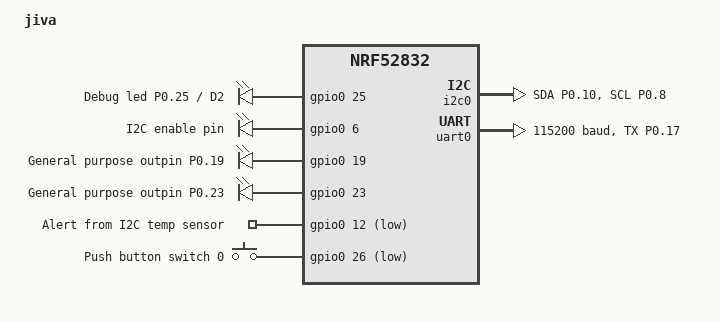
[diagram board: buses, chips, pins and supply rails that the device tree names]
// Copyright (c) 2024 Nordic Semiconductor ASA
// SPDX-License-Identifier: Apache-2.0

/dts-v1/;
#include <nordic/nrf52832_qfaa.dtsi>


/* Generated */
/ {
	model = "jiva";
	compatible = "ligna-energy,jiva";

	chosen {
		zephyr,sram = &sram0;
		zephyr,flash = &flash0;
		zephyr,code-partition = &slot0_partition;
	};
};

&flash0 {
	partitions {
		compatible = "fixed-partitions";
		#address-cells = <1>;
		#size-cells = <1>;

		boot_partition: partition@0 {
			label = "mcuboot";
			reg = <0x0 0xc000>;
		};
		slot0_partition: partition@c000 {
			label = "image-0";
			reg = <0xc000 0x32000>;
		};
		slot1_partition: partition@3e000 {
			label = "image-1";
			reg = <0x3e000 0x32000>;
		};
		scratch_partition: partition@70000 {
			label = "image-scratch";
			reg = <0x70000 0xa000>;
		};
		storage_partition: partition@7a000 {
			label = "storage";
			reg = <0x7a000 0x6000>;
		};
	};
};

/* Should not be contected here */
// P0.00 & P0.01  crystal
// NC P0.02, P0.03, P0.04, P0.05, P0.07, P0.11, P0.13,P0.14,P0.15,
// P0.16,P0.20, P0.22, P0.24,P0.27,P0.28,P0.29,P0.30,P0.31

/* Added */

/ {

    chosen {
		zephyr,console = &uart0;
    };

	gpo{
        compatible = "gpio-leds";

        led0: led_0 {
			gpios= <&gpio0 25 GPIO_ACTIVE_HIGH>; // GPIO_ACTIVE_LOW in blinky example
			label= "Debug led P0.25 / D2";
		};
		tmpon: tmp_on {
			gpios= <&gpio0 6 GPIO_ACTIVE_HIGH>; 
			label= "I2C enable pin";
		};
		gpo0: gpo_0 {
			gpios= <&gpio0 19 GPIO_ACTIVE_HIGH>; 
			label= "General purpose outpin P0.19";
		};
		gpo1: gpo_1 {
			gpios= <&gpio0 23 GPIO_ACTIVE_HIGH>; 
			label= "General purpose outpin P0.23";
		};

    };

	gpi{
		compatible = "gpio-keys";
		alert: alert {
			gpios = < &gpio0 12 (GPIO_PULL_UP | GPIO_ACTIVE_LOW)>; // todo check config
			label = "Alert from I2C temp sensor";
		};
		button0: button_0 {
			gpios = < &gpio0 26 (GPIO_PULL_UP | GPIO_ACTIVE_LOW)>;
			label = "Push button switch 0";
		};
	};

};

&gpio0 {
    status  = "okay";
};

&gpiote {
    status = "okay";
};


&i2c0 {
	pinctrl-0 = <&i2c0_default>;
	pinctrl-1 = <&i2c0_sleep>;
	pinctrl-names = "default", "sleep";
};

&uart0 {
    status = "okay";
    current-speed = < 0x1c200 >;
    pinctrl-0 = < &uart0_default >;
    pinctrl-1 = < &uart0_sleep >;
    pinctrl-names = "default", "sleep";
};

&pinctrl {
    i2c0_default: i2c0_default {
		group1 {
			psels = <NRF_PSEL(TWIM_SDA, 0, 10)>,
					<NRF_PSEL(TWIM_SCL, 0, 8)>;
		};
	};

	i2c0_sleep: i2c0_sleep {
		group1 {
			psels = <NRF_PSEL(TWIM_SDA, 0, 10)>,
					<NRF_PSEL(TWIM_SCL, 0, 8)>;
			low-power-enable;
		};
	};

	uart0_default: uart0_default {
		group1 {
			psels = <NRF_PSEL(UART_TX, 0, 17)>;
				//<NRF_PSEL(UART_RX, 0, xx)>,
				//<NRF_PSEL(UART_RTS, 0, xx)>,
				//<NRF_PSEL(UART_CTS, 0, xx)>;
		};
	};

	uart0_sleep: uart0_sleep {
		group1 {
			psels = <NRF_PSEL(UART_TX, 0, 17)>;
				//<NRF_PSEL(UART_RX, 0, xx)>,
				//<NRF_PSEL(UART_RTS, 0, xx)>,
				//<NRF_PSEL(UART_CTS, 0, xx)>;
			low-power-enable;
		};
	};
};





